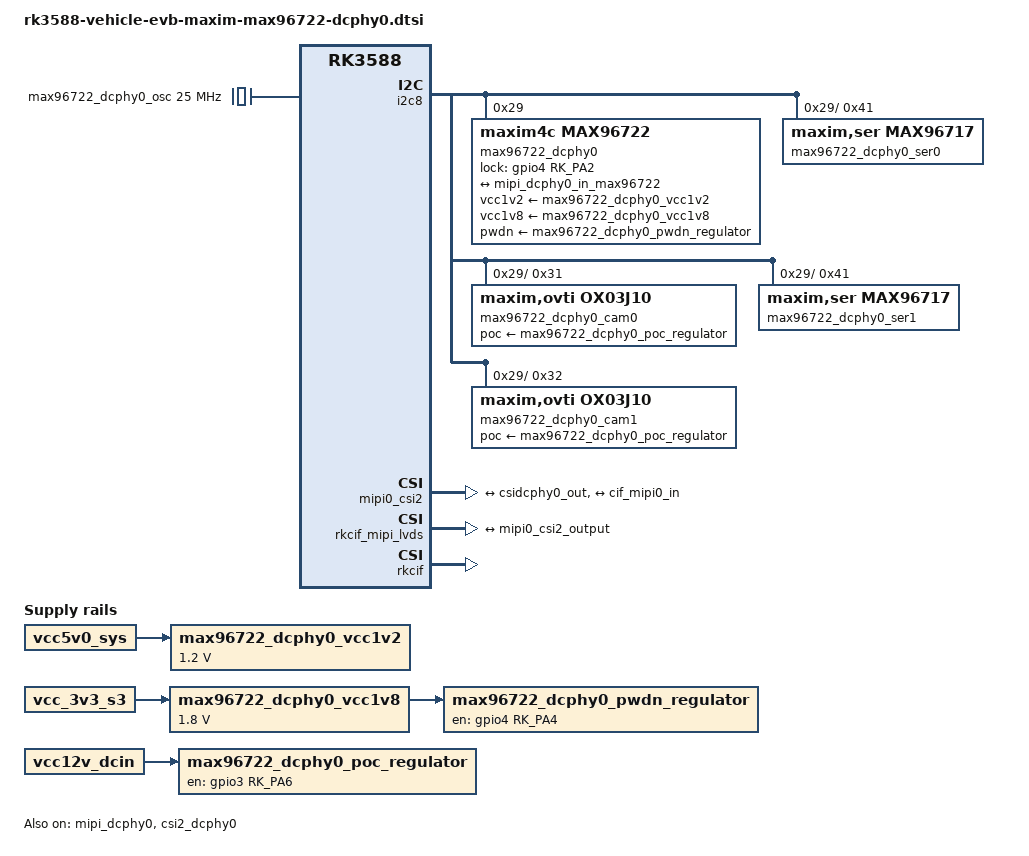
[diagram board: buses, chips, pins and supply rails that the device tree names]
// SPDX-License-Identifier: (GPL-2.0+ OR MIT)
/*
 * Copyright (c) 2023 Rockchip Electronics Co., Ltd.
 *
 */
#include <dt-bindings/display/media-bus-format.h>

/ {
	max96722_dcphy0_osc: max96722-dcphy0-oscillator {
		compatible = "fixed-clock";
		#clock-cells = <1>;
		clock-frequency = <25000000>;
		clock-output-names = "max96722-dcphy0-osc";
	};

	max96722_dcphy0_vcc1v2: max96722-dcphy0-vcc1v2 {
		compatible = "regulator-fixed";
		regulator-name = "max96722_dcphy0_vcc1v2";
		regulator-boot-on;
		regulator-always-on;
		regulator-min-microvolt = <1200000>;
		regulator-max-microvolt = <1200000>;
		startup-delay-us = <850>;
		vin-supply = <&vcc5v0_sys>;
	};

	max96722_dcphy0_vcc1v8: max96722-dcphy0-vcc1v8 {
		compatible = "regulator-fixed";
		regulator-name = "max96722_dcphy0_vcc1v8";
		regulator-boot-on;
		regulator-always-on;
		regulator-min-microvolt = <1800000>;
		regulator-max-microvolt = <1800000>;
		startup-delay-us = <200>;
		vin-supply = <&vcc_3v3_s3>;
	};

	max96722_dcphy0_pwdn_regulator: max96722-dcphy0-pwdn-regulator {
		compatible = "regulator-fixed";
		regulator-name = "max96722_dcphy0_pwdn";
		gpio = <&gpio4 RK_PA4 GPIO_ACTIVE_HIGH>;
		pinctrl-names = "default";
		pinctrl-0 = <&max96722_dcphy0_pwdn>;
		enable-active-high;
		startup-delay-us = <10000>;
		off-on-delay-us = <5000>;
		vin-supply = <&max96722_dcphy0_vcc1v8>;
	};

	max96722_dcphy0_poc_regulator: max96722-dcphy0-poc-regulator {
		compatible = "regulator-fixed";
		regulator-name = "max96722_dcphy0_poc";
		gpio = <&gpio3 RK_PA6 GPIO_ACTIVE_HIGH>;
		enable-active-high;
		startup-delay-us = <10000>;
		off-on-delay-us = <5000>;
		vin-supply = <&vcc12v_dcin>;
	};
};

&mipi_dcphy0 {
	status = "okay";
};

&csi2_dcphy0 {
	status = "okay";

	ports {
		#address-cells = <1>;
		#size-cells = <0>;
		port@0 {
			reg = <0>;
			#address-cells = <1>;
			#size-cells = <0>;

			mipi_dcphy0_in_max96722: endpoint@1 {
				reg = <1>;
				remote-endpoint = <&max96722_dcphy0_out>;
				data-lanes = <1 2>;
			};
		};
		port@1 {
			reg = <1>;
			#address-cells = <1>;
			#size-cells = <0>;

			csidcphy0_out: endpoint@0 {
				reg = <0>;
				remote-endpoint = <&mipi0_csi2_input>;
			};
		};
	};
};

&i2c8 {
	status = "okay";
	pinctrl-names = "default";
	pinctrl-0 = <&i2c8m2_xfer>;

	max96722_dcphy0: max96722@29 {
		compatible = "maxim4c,max96722";
		status = "okay";
		reg = <0x29>;
		clock-names = "xvclk";
		clocks = <&max96722_dcphy0_osc 0>;
		pinctrl-names = "default";
		pinctrl-0 = <&max96722_dcphy0_errb>, <&max96722_dcphy0_lock>;
		power-domains = <&power RK3588_PD_VI>;
		rockchip,grf = <&sys_grf>;
		vcc1v2-supply = <&max96722_dcphy0_vcc1v2>;
		vcc1v8-supply = <&max96722_dcphy0_vcc1v8>;
		pwdn-supply = <&max96722_dcphy0_pwdn_regulator>;
		lock-gpios = <&gpio4 RK_PA2 GPIO_ACTIVE_HIGH>;

		rockchip,camera-module-index = <0>;
		rockchip,camera-module-facing = "back";
		rockchip,camera-module-name = "max96722";
		rockchip,camera-module-lens-name = "max96722";

		port {
			max96722_dcphy0_out: endpoint {
				remote-endpoint = <&mipi_dcphy0_in_max96722>;
				data-lanes = <1 2>;
			};
		};

		/* support mode config start */
		support-mode-config {
			status = "okay";

			bus-format = <MEDIA_BUS_FMT_UYVY8_2X8>;
			sensor-width = <1920>;
			sensor-height = <1080>;
			max-fps-numerator = <10000>;
			max-fps-denominator = <300000>;
			bpp = <16>;
			link-freq-idx = <24>;
		};
		/* support mode config end */

		/* serdes local device start */
		serdes-local-device {
			status = "okay";

			/* GMSL LINK config start */
			gmsl-links {
				status = "okay";

				link-vdd-ldo1-en = <1>;
				link-vdd-ldo2-en = <1>;

				// Link A: link-id = 0
				gmsl-link-config-0 {
					status = "okay";
					link-id = <0>; // Link ID: 0/1/2/3

					link-type = <1>;
					link-rx-rate = <0>;
					link-tx-rate = <0>;

					link-remote-cam = <&max96722_dcphy0_cam0>; // remote camera

					link-init-sequence {
						seq-item-size = <5>; // reg-addr-len + reg-val-len * 2 + 1
						reg-addr-len = <2>; // 1: 8bits, 2: 16bits
						reg-val-len = <1>; // 1: 8bits, 2: 16bits, 3: 24bits

						// reg_addr reg_val val_mask delay
						init-sequence = [
							14 D1 03 00 00 // VGAHiGain
							14 45 00 00 00 // Disable SSC
						];
					};
				};

				// Link B: link-id = 1
				gmsl-link-config-1 {
					status = "okay";
					link-id = <1>; // Link ID: 0/1/2/3

					link-type = <1>;
					link-rx-rate = <0>;
					link-tx-rate = <0>;

					link-remote-cam = <&max96722_dcphy0_cam1>; // remote camera

					link-init-sequence {
						seq-item-size = <5>; // reg-addr-len + reg-val-len * 2 + 1
						reg-addr-len = <2>; // 1: 8bits, 2: 16bits
						reg-val-len = <1>; // 1: 8bits, 2: 16bits, 3: 24bits

						// reg_addr reg_val val_mask delay
						init-sequence = [
							15 D1 03 00 00 // VGAHiGain
							15 45 00 00 00 // Disable SSC
						];
					};
				};
			};
			/* GMSL LINK config end */

			/* VIDEO PIPE config start */
			video-pipes {
				status = "okay";

				// Video Pipe 0
				video-pipe-config-0 {
					status = "okay";
					pipe-id = <0>; // Video Pipe ID: 0/1/2/3/4/5/6/7

					pipe-idx = <2>; // Video Pipe X/Y/Z/U: 0/1/2/3
					link-idx = <0>; // Link A/B/C/D: 0/1/2/3

					pipe-init-sequence {
						seq-item-size = <5>; // reg-addr-len + reg-val-len * 2 + 1
						reg-addr-len = <2>; // 1: 8bits, 2: 16bits
						reg-val-len = <1>; // 1: 8bits, 2: 16bits, 3: 24bits

						// reg_addr reg_val val_mask delay
						init-sequence = [
							// Send YUV422, FS, and FE from Video Pipe 0 to Controller 0
							09 0B 07 00 00 // Enable 0/1/2 SRC/DST Mappings
							09 2D 00 00 00 // SRC/DST 0/1/2 -> CSI2 Controller 0;
							// For the following MSB 2 bits = VC, LSB 6 bits = DT
							09 0D 1e 00 00 // SRC0 VC = 0, DT = YUV422 8bit
							09 0E 1e 00 00 // DST0 VC = 0, DT = YUV422 8bit
							09 0F 00 00 00 // SRC1 VC = 0, DT = Frame Start
							09 10 00 00 00 // DST1 VC = 0, DT = Frame Start
							09 11 01 00 00 // SRC2 VC = 0, DT = Frame End
							09 12 01 00 00 // DST2 VC = 0, DT = Frame End
						];
					};
				};

				// Video Pipe 1
				video-pipe-config-1 {
					status = "okay";
					pipe-id = <1>; // Video Pipe 1: pipe-id = 1

					pipe-idx = <2>; // Video Pipe X/Y/Z/U: 0/1/2/3
					link-idx = <1>; // Link A/B/C/D: 0/1/2/3

					pipe-init-sequence {
						seq-item-size = <5>; // reg-addr-len + reg-val-len * 2 + 1
						reg-addr-len = <2>; // 1: 8bits, 2: 16bits
						reg-val-len = <1>; // 1: 8bits, 2: 16bits, 3: 24bits

						// reg_addr reg_val val_mask delay
						init-sequence = [
							// Send YUV422, FS, and FE from Video Pipe 1 to Controller 0
							09 4B 07 00 00 // Enable 0/1/2 SRC/DST Mappings
							09 6D 00 00 00 // SRC/DST 0/1/2 -> CSI2 Controller 0;
							// For the following MSB 2 bits = VC, LSB 6 bits = DT
							09 4D 1e 00 00 // SRC0 VC = 0, DT = YUV422 8bit
							09 4E 5e 00 00 // DST0 VC = 1, DT = YUV422 8bit
							09 4F 00 00 00 // SRC1 VC = 0, DT = Frame Start
							09 50 40 00 00 // DST1 VC = 1, DT = Frame Start
							09 51 01 00 00 // SRC2 VC = 0, DT = Frame End
							09 52 41 00 00 // DST2 VC = 1, DT = Frame End
						];
					};
				};
			};
			/* VIDEO PIPE config end */

			/* MIPI TXPHY config start */
			mipi-txphys {
				status = "okay";

				phy-mode = <1>;
				phy-force-clock-out = <1>;
				phy-force-clk0-en = <0>;
				phy-force-clk3-en = <0>;

				// MIPI TXPHY A: phy-id = 0
				mipi-txphy-config-0 {
					status = "okay";
					phy-id = <0>; // MIPI TXPHY ID: 0/1/2/3

					phy-type = <0>;
					auto-deskew = <0x00>;
					data-lane-num = <2>;
					data-lane-map = <0x4>;
					vc-ext-en = <0>;
				};
			};
			/* MIPI TXPHY config end */

			/* local device extra init sequence */
			extra-init-sequence {
				status = "disabled";

				seq-item-size = <5>; // reg-addr-len + reg-val-len * 2 + 1
				reg-addr-len = <2>; // 1: 8bits, 2: 16bits
				reg-val-len = <1>; // 1: 8bits, 2: 16bits, 3: 24bits

				// reg_addr reg_val val_mask delay
				init-sequence = [
					// common init sequence such as fsync / gpio and so on
				];
			};
		};
		/* serdes local device end */

		/* i2c-mux start */
		i2c-mux {
			#address-cells = <1>;
			#size-cells = <0>;

			i2c@0 {
				#address-cells = <1>;
				#size-cells = <0>;
				reg = <0>;

				// Note: Serializer node defined before camera node
				max96722_dcphy0_ser0: max96717@41 {
					compatible = "maxim,ser,max96717";
					reg = <0x41>;

					ser-i2c-addr-def = <0x40>;

					ser-init-sequence {
						seq-item-size = <5>; // reg-addr-len + reg-val-len * 2 + 1
						reg-addr-len = <2>; // 1: 8bits, 2: 16bits
						reg-val-len = <1>; // 1: 8bits, 2: 16bits, 3: 24bits

						// reg_addr reg_val val_mask delay
						init-sequence = [
							02 BE 00 00 01 // MFP0 GPIO_OUT = 0: MFP0 output is driven to 0
							03 02 10 00 00 // Improve CMU voltage performance to improve link robustness
							14 17 00 00 00 // RLMS17 = 0x00: disable AGC/DFE adaptation
							14 32 7f 00 00 // RLMS32 = 0x7F: change OSN loop mode
							03 F0 59 00 00 // REFGEN_PREDEF_FREQ_ALT = 1: Alternative table, REFGEN_PREDEF_FREQ = 0x1
							00 03 03 00 00 // RCLKSEL = 0x3: Reference PLL output
							00 06 B1 00 01 // RCLKEN = 1: RCLK output is enabled
							02 BE 10 00 00 // MFP0 GPIO_OUT = 1: MFP0 output is driven to 1
							02 BF 40 00 00 // MFP0 PULL_UPDN_SEL = 1: Pullup
						];
					};
				};

				max96722_dcphy0_cam0: ox03j10@31 {
					compatible = "maxim,ovti,ox03j10";
					reg = <0x31>;

					cam-i2c-addr-def = <0x36>;

					cam-remote-ser = <&max96722_dcphy0_ser0>; // remote serializer

					poc-supply = <&max96722_dcphy0_poc_regulator>;

					rockchip,camera-module-index = <0>;
					rockchip,camera-module-facing = "back";
					rockchip,camera-module-name = "ox03j10";
					rockchip,camera-module-lens-name = "ox03j10";

					/* port config start */
					port {
						max96722_dcphy0_cam0_out: endpoint {
							/* remote endpoint: rkcif_mipi_lvds_sditf */
							//remote-endpoint = <&mipi_lvds_sditf_in>;
							data-lanes = <1 2 3 4>;
						};
					};
					/* port config end */
				};
			};

			i2c@1 {
				#address-cells = <1>;
				#size-cells = <0>;
				reg = <1>;

				// Note: Serializer node defined before camera node
				max96722_dcphy0_ser1: max96717@41 {
					compatible = "maxim,ser,max96717";
					reg = <0x41>;

					ser-i2c-addr-def = <0x40>;

					ser-init-sequence {
						seq-item-size = <5>; // reg-addr-len + reg-val-len * 2 + 1
						reg-addr-len = <2>; // 1: 8bits, 2: 16bits
						reg-val-len = <1>; // 1: 8bits, 2: 16bits, 3: 24bits

						// reg_addr reg_val val_mask delay
						init-sequence = [
							02 BE 00 00 01 // MFP0 GPIO_OUT = 0: MFP0 output is driven to 0
							03 02 10 00 00 // Improve CMU voltage performance to improve link robustness
							14 17 00 00 00 // RLMS17 = 0x00: disable AGC/DFE adaptation
							14 32 7f 00 00 // RLMS32 = 0x7F: change OSN loop mode
							03 F0 59 00 00 // REFGEN_PREDEF_FREQ_ALT = 1: Alternative table, REFGEN_PREDEF_FREQ = 0x1
							00 03 03 00 00 // RCLKSEL = 0x3: Reference PLL output
							00 06 B1 00 01 // RCLKEN = 1: RCLK output is enabled
							02 BE 10 00 00 // MFP0 GPIO_OUT = 1: MFP0 output is driven to 1
							02 BF 40 00 00 // MFP0 PULL_UPDN_SEL = 1: Pullup
						];
					};
				};

				max96722_dcphy0_cam1: ox03j10@32 {
					compatible = "maxim,ovti,ox03j10";
					reg = <0x32>;

					cam-i2c-addr-def = <0x36>;

					cam-remote-ser = <&max96722_dcphy0_ser1>; // remote serializer

					poc-supply = <&max96722_dcphy0_poc_regulator>;

					rockchip,camera-module-index = <0>;
					rockchip,camera-module-facing = "back";
					rockchip,camera-module-name = "ox03j10";
					rockchip,camera-module-lens-name = "ox03j10";

					/* port config start */
					port {
						max96722_dcphy0_cam1_out: endpoint {
							/* remote endpoint: rkcif_mipi_lvds_sditf_vir1 */
							//remote-endpoint = <&mipi_lvds_sditf_vir1_in>;
							data-lanes = <1 2 3 4>;
						};
					};
					/* port config end */
				};
			};
		};
		/* i2c-mux end */
	};
};

&mipi0_csi2 {
	status = "okay";

	ports {
		#address-cells = <1>;
		#size-cells = <0>;

		port@0 {
			reg = <0>;
			#address-cells = <1>;
			#size-cells = <0>;

			mipi0_csi2_input: endpoint@1 {
				reg = <1>;
				remote-endpoint = <&csidcphy0_out>;
			};
		};

		port@1 {
			reg = <1>;
			#address-cells = <1>;
			#size-cells = <0>;

			mipi0_csi2_output: endpoint@0 {
				reg = <0>;
				remote-endpoint = <&cif_mipi0_in>;
			};
		};
	};
};

&rkcif_mipi_lvds {
	status = "okay";
	/* parameters for do cif reset detecting:
	 * index0: monitor mode,
		   0 for idle,
		   1 for continue,
		   2 for trigger,
		   3 for hotplug (for nextchip)
	 * index1: the frame id to start timer,
		   min is 2
	 * index2: frame num of monitoring cycle
	 * index3: err time for keep monitoring
		   after finding out err (ms)
	 * index4: csi2 err reference val for resetting
	 */
	rockchip,cif-monitor = <3 2 1 1000 5>;

	port {
		cif_mipi0_in: endpoint {
			remote-endpoint = <&mipi0_csi2_output>;
		};
	};
};

&rkcif {
	status = "okay";
	rockchip,android-usb-camerahal-enable;
};

&rkcif_mmu {
	status = "okay";
};

&pinctrl {
	max96722-dcphy0 {
		max96722_dcphy0_pwdn: max96722-dcphy0-pwdn {
			rockchip,pins = <4 RK_PA4 RK_FUNC_GPIO &pcfg_output_low>;
		};

		max96722_dcphy0_errb: max96722-dcphy0-errb {
			rockchip,pins = <4 RK_PA5 RK_FUNC_GPIO &pcfg_pull_none_smt>;
		};

		max96722_dcphy0_lock: max96722-dcphy0-lock {
			rockchip,pins = <4 RK_PA2 RK_FUNC_GPIO &pcfg_pull_none_smt>;
		};
	};
};
